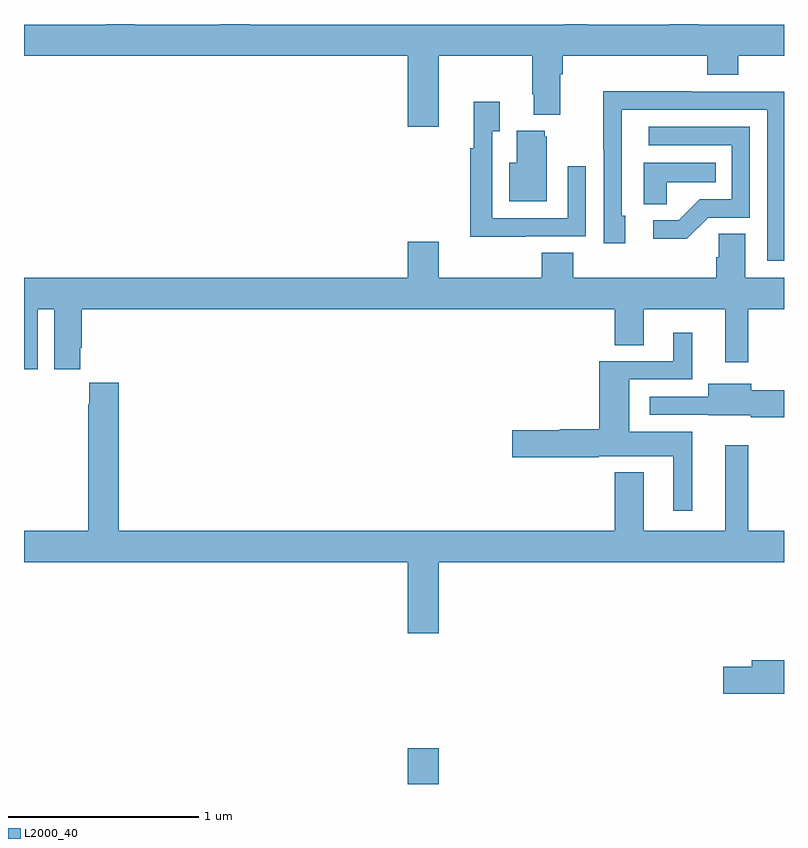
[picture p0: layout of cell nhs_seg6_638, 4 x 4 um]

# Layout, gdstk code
import gdstk
lib = gdstk.Library(unit=1e-6, precision=1e-09)
def R(c, l, rs):  # rectangles x0, y0, x1, y1
    for r in rs: c.add(gdstk.rectangle(r[:2], r[2:], *l))
def P(c, l, *ps):  # polygons
    for p in ps: c.add(gdstk.Polygon(p, *l))
L2000_40 = (2000, 40)

nhs_seg6_638 = lib.new_cell('nhs_seg6_638')
R(nhs_seg6_638, L2000_40, [(153.02,947.5,153.184,947.689)])
P(nhs_seg6_638, L2000_40, [(153.184,951.332),(153.676,951.332),(153.676,951.13),(153.683,951.13),(153.683,951.023),(153.823,951.023),(153.823,951.236),(153.836,951.236),(153.836,951.332),(154.595,951.332),(154.595,951.233),(154.76,951.233),(154.76,951.332),(155,951.332),(155,951.496),(154.55,951.496),(154.55,951.5),(154.397,951.5),(154.397,951.496),(153.967,951.496),(153.967,951.5),(153.845,951.5),(153.845,951.496),(152.189,951.496),(152.189,951.5),(152.029,951.5),(152.029,951.496),(151.584,951.496),(151.584,951.5),(151.429,951.5),(151.429,951.496),(151,951.496),(151,951.332),(153.02,951.332),(153.02,950.958),(153.184,950.958)],
  [(155,951.144),(154.511,951.144),(154.511,951.146),(154.048,951.146),(154.048,950.839),(154.05,950.839),(154.05,950.346),(154.165,950.346),(154.165,950.49),(154.146,950.49),(154.146,951.048),(154.911,951.048),(154.911,950.253),(155,950.253)],
  [(153.641,950.382),(153.957,950.382),(153.957,950.752),(153.861,950.752),(153.861,950.478),(153.465,950.478),(153.465,950.935),(153.505,950.935),(153.505,951.091),(153.368,951.091),(153.368,950.846),(153.349,950.846),(153.349,950.381),(153.641,950.381)],
  [(154.602,950.481),(154.821,950.481),(154.821,950.958),(154.287,950.958),(154.287,950.862),(154.725,950.862),(154.725,950.577),(154.556,950.577),(154.445,950.466),(154.311,950.466),(154.311,950.369),(154.489,950.369)],
  [(153.751,950.907),(153.74,950.907),(153.74,950.938),(153.593,950.938),(153.593,950.77),(153.554,950.77),(153.554,950.567),(153.751,950.567)],
  [(154.383,950.666),(154.64,950.666),(154.64,950.77),(154.262,950.77),(154.262,950.551),(154.383,950.551)],
  [(154.109,949.81),(154.261,949.81),(154.261,950),(154.691,950),(154.691,949.719),(154.813,949.719),(154.813,950),(155,950),(155,950.164),(154.795,950.164),(154.795,950.396),(154.656,950.396),(154.656,950.273),(154.643,950.273),(154.643,950.164),(153.89,950.164),(153.89,950.297),(153.725,950.297),(153.725,950.164),(153.184,950.164),(153.184,950.353),(153.02,950.353),(153.02,950.164),(151,950.164),(151,949.683),(151.072,949.683),(151.072,950),(151.16,950),(151.16,949.683),(151.297,949.683),(151.297,949.795),(151.304,949.795),(151.304,950),(154.109,950)],
  [(154.516,949.354),(154.186,949.354),(154.186,949.629),(154.516,949.629),(154.516,949.876),(154.418,949.876),(154.418,949.725),(154.028,949.725),(154.028,949.367),(153.819,949.367),(153.819,949.361),(153.57,949.361),(153.57,949.219),(154.025,949.219),(154.025,949.226),(154.418,949.226),(154.418,948.939),(154.516,948.939)],
  [(153.184,948.668),(155,948.668),(155,948.832),(154.813,948.832),(154.813,949.282),(154.691,949.282),(154.691,948.832),(154.261,948.832),(154.261,949.141),(154.109,949.141),(154.109,948.832),(151.499,948.832),(151.499,949.612),(151.343,949.612),(151.343,949.499),(151.339,949.499),(151.339,948.832),(151,948.832),(151,948.668),(153.02,948.668),(153.02,948.294),(153.184,948.294)],
  [(155,949.572),(154.828,949.572),(154.828,949.606),(154.601,949.606),(154.601,949.539),(154.293,949.539),(154.293,949.443),(154.605,949.443),(154.605,949.442),(154.824,949.442),(154.824,949.43),(155,949.43)],
  [(155,948.152),(154.829,948.152),(154.829,948.116),(154.68,948.116),(154.68,947.974),(155,947.974)])

lib.write_gds('nhs_seg6_638.gds')
